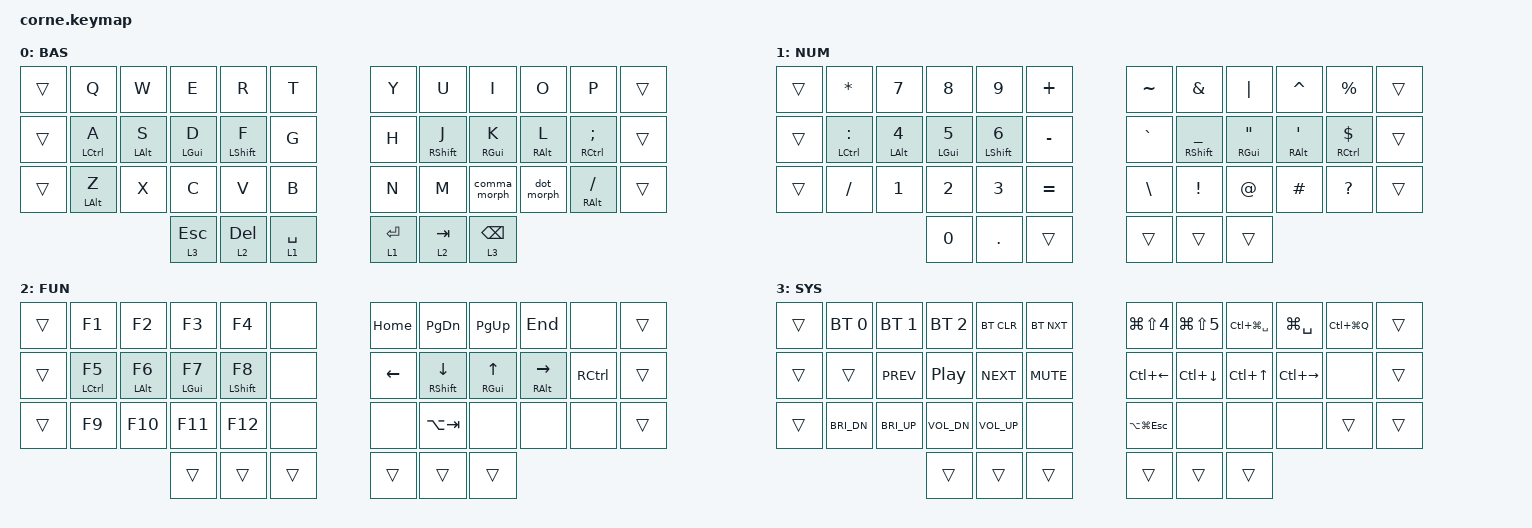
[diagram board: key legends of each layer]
/*
 * Copyright (c) 2020 The ZMK Contributors
 *
 * SPDX-License-Identifier: MIT
 */

#include <dt-bindings/led/led.h>
#include <dt-bindings/zmk/reset.h>

#define ZMK_POINTING_DEFAULT_SCRL_VAL 20    // default: 10

#include <behaviors.dtsi>
#include <dt-bindings/zmk/bt.h>
#include <dt-bindings/zmk/keys.h>

&led_strip { chain-length = <27>; };

/ {
    behaviors {
        // timeless home-row mods (urob): hold only when the next key is on the other hand
        hml: hml {
            compatible = "zmk,behavior-hold-tap";
            #binding-cells = <2>;
            flavor = "balanced";
            tapping-term-ms = <170>;
            quick-tap-ms = <175>;
            require-prior-idle-ms = <150>;
            bindings = <&kp>, <&kp>;
            hold-trigger-key-positions = <6 7 8 9 10 11 18 19 20 21 22 23 30 31 32 33 34 35 36 37 38 39 40 41>;
            hold-trigger-on-release;
        };

        hmr: hmr {
            compatible = "zmk,behavior-hold-tap";
            #binding-cells = <2>;
            flavor = "balanced";
            tapping-term-ms = <170>;
            quick-tap-ms = <175>;
            require-prior-idle-ms = <150>;
            bindings = <&kp>, <&kp>;
            hold-trigger-key-positions = <0 1 2 3 4 5 12 13 14 15 16 17 24 25 26 27 28 29 36 37 38 39 40 41>;
            hold-trigger-on-release;
        };

        // tap: (   shift+tap: <
        lpar_lt: lpar_lt {
            compatible = "zmk,behavior-mod-morph";
            #binding-cells = <0>;
            bindings = <&kp LPAR>, <&kp LT>;
            mods = <(MOD_LSFT|MOD_RSFT)>;
        };

        // tap: )   shift+tap: >
        rpar_gt: rpar_gt {
            compatible = "zmk,behavior-mod-morph";
            #binding-cells = <0>;
            bindings = <&kp RPAR>, <&kp GT>;
            mods = <(MOD_LSFT|MOD_RSFT)>;
        };

        // tap: ,   shift+tap: ;
        comma_morph: comma_morph {
            compatible = "zmk,behavior-mod-morph";
            #binding-cells = <0>;
            bindings = <&kp COMMA>, <&kp SEMICOLON>;
            mods = <(MOD_LSFT|MOD_RSFT)>;
        };

        // tap: .   shift+tap: :
        dot_morph: dot_morph {
            compatible = "zmk,behavior-mod-morph";
            #binding-cells = <0>;
            bindings = <&kp DOT>, <&kp COLON>;
            mods = <(MOD_LSFT|MOD_RSFT)>;
        };
    };

    combos {
        compatible = "zmk,combos";

        escape {
            bindings = <&kp ESCAPE>;
            key-positions = <4 5>;
        };

        caps {
            bindings = <&caps_word>;
            key-positions = <17 18>;
        };

        apostroph {
            bindings = <&kp APOSTROPHE>;
            key-positions = <6 7>;
        };

        wispr {
            bindings = <&wispr>;
            key-positions = <10 7>;
        };

        copy {
            bindings = <&copy>;
            key-positions = <26 27>;
        };

        paste {
            bindings = <&paste>;
            key-positions = <27 28>;
        };

        left_bracket {
            bindings = <&kp LEFT_BRACKET>;
            key-positions = <31 32>;
        };

        right_bracket {
            bindings = <&kp RIGHT_BRACKET>;
            key-positions = <32 33>;
        };

        l_parenthesis {
            bindings = <&lpar_lt>;
            key-positions = <19 20>;
        };

        r_parenthesis {
            bindings = <&rpar_gt>;
            key-positions = <20 21>;
        };

        tab {
            bindings = <&kp TAB>;
            key-positions = <14 15>;
        };

        backspace {
            bindings = <&kp BACKSPACE>;
            key-positions = <30 31>;
        };

        delete {
            bindings = <&kp DELETE>;
            key-positions = <18 19>;
        };

        cut {
            bindings = <&cut>;
            key-positions = <28 26>;
        };

        undo {
            bindings = <&undo>;
            key-positions = <26 25>;
        };

        // both NUM thumbs together: toggle NUM on/off
        num_toggle {
            bindings = <&tog 1>;
            key-positions = <38 39>;
        };

        redo {
            bindings = <&redo>;
            key-positions = <28 29>;
        };

        enter {
            bindings = <&kp ENTER>;
            key-positions = <16 17>;
        };
    };

    macros {
        wispr: wispr {
            compatible = "zmk,behavior-macro";
            #binding-cells = <0>;
            bindings = <&kp LS(LA(NUMBER_1))>;
            label = "WISPR";
        };

        undo: undo {
            compatible = "zmk,behavior-macro";
            #binding-cells = <0>;
            bindings = <&none &kp LG(Z)>;
            label = "UNDO";
        };

        cut: cut {
            compatible = "zmk,behavior-macro";
            #binding-cells = <0>;
            bindings = <&none &kp LG(X)>;
            label = "CUT";
        };

        redo: redo {
            compatible = "zmk,behavior-macro";
            #binding-cells = <0>;
            bindings = <&none &kp LG(LS(Z))>;
            label = "REDO";
        };

        copy: copy {
            compatible = "zmk,behavior-macro";
            #binding-cells = <0>;
            bindings = <&none &kp LG(C)>;
            label = "COPY";
        };

        paste: paste {
            compatible = "zmk,behavior-macro";
            #binding-cells = <0>;
            bindings = <&none &kp LG(V)>;
            label = "PASTE";
        };
    };

    keymap {
        compatible = "zmk,keymap";

        default_layer {
            display-name = "BAS";

            // -----------------------------------------------------------------------------------------
            // |  TAB |  Q  |  W  |  E  |  R  |  T  |   |  Y  |  U   |  I  |  O  |  P  | BKSP |
            // | CTRL |  A  |  S  |  D  |  F  |  G  |   |  H  |  J   |  K  |  L  |  ;  |  '   |
            // | SHFT |  Z  |  X  |  C  |  V  |  B  |   |  N  |  M   |  ,  |  .  |  /  | ESC  |
            //                    | GUI | LWR | SPC |   | ENT | RSE  | ALT |

            bindings = <
&trans  &kp Q        &kp W       &kp E         &kp R         &kp T          &kp Y        &kp U         &kp I            &kp O       &kp P           &trans
&trans  &hml LCTRL A  &hml LALT S  &hml LGUI D    &hml LSHIFT F  &kp G          &kp H        &hmr RSHIFT J  &hmr RGUI K       &hmr RALT L  &hmr RCTRL SEMI  &trans
&trans  &hml LALT Z   &kp X       &kp C         &kp V         &kp B          &kp N        &kp M         &comma_morph     &dot_morph  &hmr RALT FSLH   &trans
                                 &lt 3 ESCAPE  &lt 2 DELETE  &lt 1 SPACE    &lt 1 ENTER  &lt 2 TAB     &lt 3 BACKSPACE
            >;
        };

        NUM {
            display-name = "NUM";

            // -----------------------------------------------------------------------------------------
            // |  TAB |  1  |  2  |  3  |  4  |  5  |   |  6  |  7  |  8  |  9  |  0  | BKSP |
            // | BTCLR| BT1 | BT2 | BT3 | BT4 | BT5 |   | LFT | DWN |  UP | RGT |     |      |
            // | SHFT |     |     |     |     |     |   |     |     |     |     |     |      |
            //                    | GUI |     | SPC |   | ENT |     | ALT |

            bindings = <
&trans  &kp ASTERISK     &kp NUMBER_7       &kp NUMBER_8       &kp NUMBER_9        &kp PLUS     &kp TILDE  &kp AMPERSAND                &kp PIPE                    &kp CARET        &kp PERCENT  &trans
&trans  &hml LCTRL COLON  &hml LALT NUMBER_4  &hml LGUI NUMBER_5  &hml LSHFT NUMBER_6  &kp MINUS    &kp GRAVE  &hmr RSHIFT UNDERSCORE        &hmr RGUI DOUBLE_QUOTES      &hmr RALT SQT     &hmr RCTRL DOLLAR   &trans
&trans  &kp SLASH        &kp NUMBER_1       &kp NUMBER_2       &kp NUMBER_3        &kp EQUAL    &kp BSLH   &kp EXCLAMATION              &kp AT_SIGN                 &kp HASH         &kp QUESTION    &trans
                                            &kp NUMBER_0       &kp DOT             &trans       &trans     &trans                       &trans
            >;
        };

        FUN {
            display-name = "FUN";

            // -----------------------------------------------------------------------------------------
            // |  TAB |  !  |  @  |  #  |  $  |  %  |   |  ^  |  &  |  *  |  (  |  )  | BKSP |
            // | CTRL |     |     |     |     |     |   |  -  |  =  |  [  |  ]  |  \  |  `   |
            // | SHFT |     |     |     |     |     |   |  _  |  +  |  {  |  }  | "|" |  ~   |
            //                    | GUI |     | SPC |   | ENT |     | ALT |

            bindings = <
&trans  &kp F1        &kp F2       &kp F3       &kp F4         &none               &kp HOME           &kp PAGE_DOWN    &kp PAGE_UP    &kp END         &none           &trans
&trans  &hml LCTRL F5  &hml LALT F6  &hml LGUI F7  &hml LSHIFT F8  &none               &kp LEFT           &hmr RSHIFT DOWN  &hmr RGUI UP    &hmr RALT RIGHT  &kp RCTRL        &trans
&trans  &kp F9        &kp F10      &kp F11      &kp F12        &none               &none              &kp LA(TAB)      &none          &none           &none           &trans
                                   &trans       &trans         &trans              &trans             &trans           &trans
            >;
        };

        SYS {
            bindings = <
&trans  &bt BT_SEL 0  &bt BT_SEL 1  &bt BT_SEL 2      &bt BT_CLR  &bt BT_NXT    &kp LG(LS(N4))  &kp LG(LS(N5))  &kp LC(LG(SPACE))  &kp LG(SPACE)  &kp LC(LG(Q))          &trans
&trans  &trans        &kp C_PREV    &kp C_PLAY_PAUSE  &kp C_NEXT  &kp K_MUTE    &kp LC(LEFT)    &kp LC(DOWN)    &kp LC(UP)         &kp LC(RIGHT)  &none          &trans
&trans  &kp C_BRI_DN  &kp C_BRI_UP  &kp C_VOL_DN      &kp C_VOL_UP  &none  &kp LA(LG(ESC))  &none           &none              &none         &trans         &trans
                                    &trans            &trans      &trans        &trans           &trans       &trans
            >;

            label = "SYS";
        };
    };

    conditional_layers { compatible = "zmk,conditional-layers"; };
};
